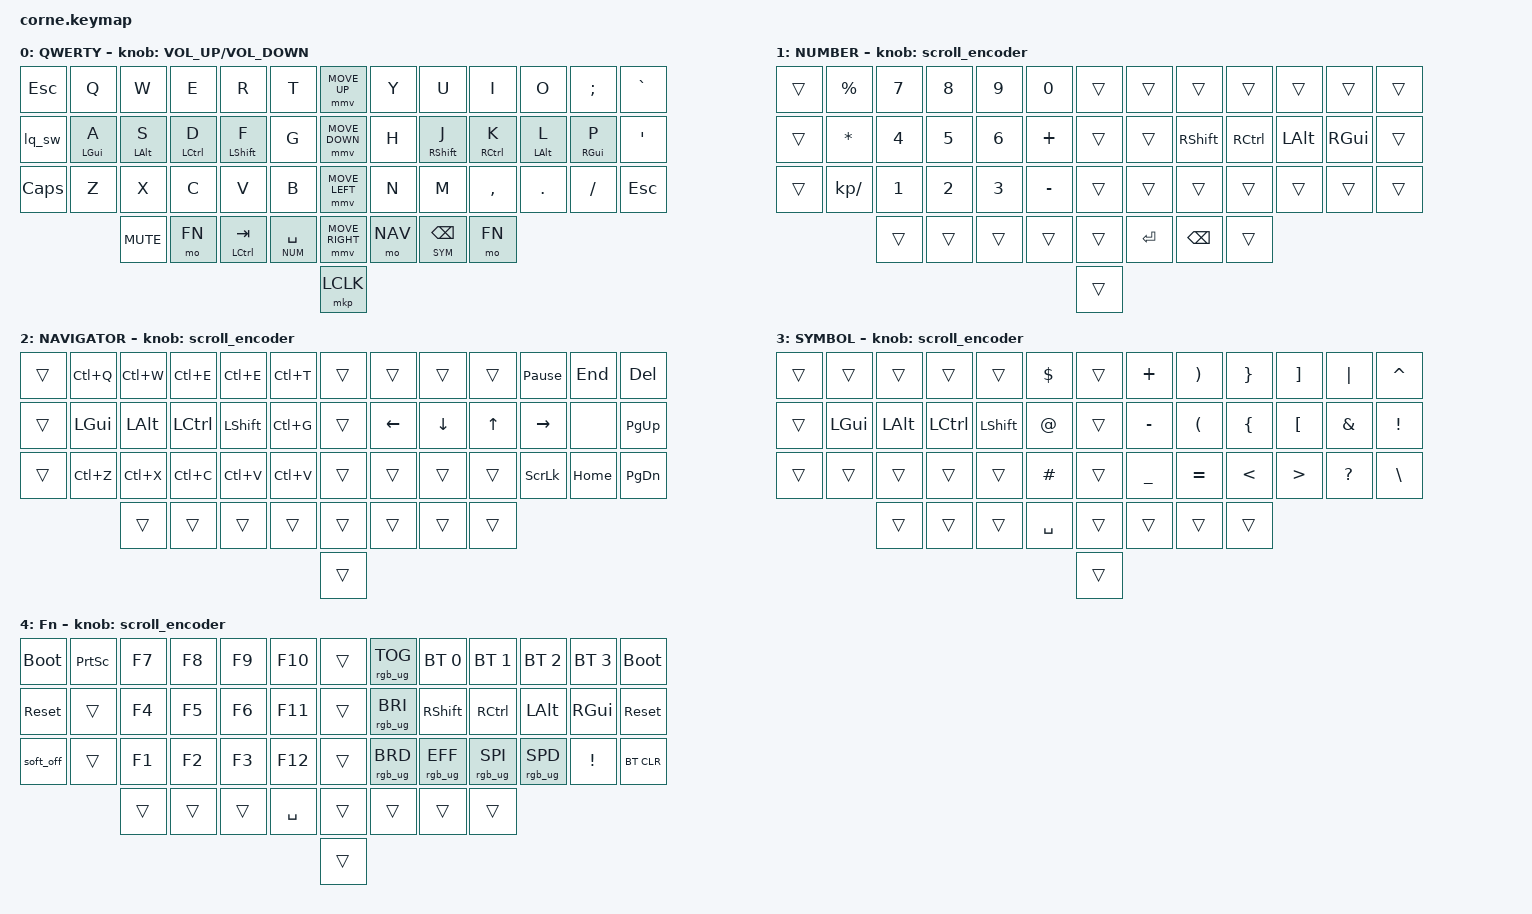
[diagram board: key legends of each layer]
#include <behaviors/mouse_keys.dtsi>
#include <behaviors.dtsi>
#include <dt-bindings/zmk/bt.h>
#include <dt-bindings/zmk/keys.h>
#include <dt-bindings/zmk/mouse.h>
#include <dt-bindings/zmk/rgb.h>
#include <dt-bindings/zmk/ext_power.h>

#define ZMK_MOUSE_DEFAULT_MOVE_VAL 1200  // 600
#define ZMK_MOUSE_DEFAULT_SCRL_VAL 20    // 10
#define U_MS_U &mmv MOVE_UP
#define U_MS_D &mmv MOVE_DOWN
#define U_MS_L &mmv MOVE_LEFT
#define U_MS_R &mmv MOVE_RIGHT

#define DEF     0
#define NUM     1
#define NAV     2
#define SYM     3
#define FN      4

#define XXX &none
#define ___ &trans

&mt {
    quick-tap-ms = <200>;
};

/ {
    behaviors {
        mmv {
            acceleration-exponent = <1>;      // 1
            time-to-max-speed-ms = <900>;    // 40
            delay-ms = <0>;                   // 0
        };

        msc {
            acceleration-exponent = <1>;      // 0
            time-to-max-speed-ms = <400>;      // 500
            delay-ms = <0>;                   // 10
        };

        hmsf: homerow_mods_strong_fingers {
            compatible = "zmk,behavior-hold-tap";
            #binding-cells = <2>;
            tapping-term-ms = <200>;
            quick-tap-ms = <200>;
            flavor = "tap-preferred";
            bindings = <&kp>, <&kp>;
        };

	hmwf: homerow_mods_weak_fingers {
            compatible = "zmk,behavior-hold-tap";
            #binding-cells = <2>;
            tapping-term-ms = <300>;
            quick-tap-ms = <200>;
            flavor = "tap-preferred";
            bindings = <&kp>, <&kp>;
	    retro-tap;
        };

	spc: space {
	    compatible = "zmk,behavior-hold-tap";
            #binding-cells = <2>;
            tapping-term-ms = <200>;
            flavor = "balanced";
            bindings = <&mo>, <&kp>;
	    retro-tap;
 	};

	bsp: backspace {
            compatible = "zmk,behavior-hold-tap";
            #binding-cells = <2>;
            tapping-term-ms = <200>;
            quick-tap-ms = <300>;
            flavor = "hold-preferred";
            bindings = <&mo>, <&kp>;
        };
    };

    macros {
        lq_sw: language_switch {
            compatible = "zmk,behavior-macro";
            #binding-cells = <0>;
            bindings
                = <&macro_press &kp LGUI>
		, <&macro_press &kp LALT>
		, <&macro_press &kp LCTRL>
                , <&macro_tap &kp SPACE>
                , <&macro_release &kp LGUI>
		, <&macro_release &kp LALT>
		, <&macro_release &kp LCTRL>
                ;
        };

	hp_gt: hyphen_greater {
            compatible = "zmk,behavior-macro";
            #binding-cells = <0>;
            bindings
                = <&macro_tap &kp MINUS>
                , <&macro_tap &kp GT>
                ;
        };

	eq_gt: equal_greater {
            compatible = "zmk,behavior-macro";
            #binding-cells = <0>;
            bindings
                = <&macro_tap &kp EQUAL>
                , <&macro_tap &kp GT>
                ;
        };

	cl_qm: colon_qmark {
            compatible = "zmk,behavior-macro";
            #binding-cells = <0>;
            bindings
                = <&macro_tap &kp COLON>
                , <&macro_tap &kp QMARK>
                ;
        };

	sml: smile {
            compatible = "zmk,behavior-macro";
            #binding-cells = <0>;
            bindings
                = <&macro_tap &kp EQUAL>
                , <&macro_tap &kp RPAR>
		, <&macro_tap &kp RPAR>
                ;
        };
    };

   combos {
        compatible = "zmk,combos";
        combo_hyphen_greater {
            timeout-ms = <70>;
            key-positions = <20 35>;
            bindings = <&hp_gt>;
        };

	combo_equal_greater {
            timeout-ms = <70>;
            key-positions = <18 36>;
            bindings = <&eq_gt>;
        };

	combo_colon_qmark {
            timeout-ms = <80>;
            key-positions = <18 37>;
            bindings = <&cl_qm>;
        };

	combo_smile {
            timeout-ms = <60>;
            key-positions = <8 18>;
            bindings = <&sml>;
        };
    };

    rgb_encoder: rgb_encoder {
        compatible = "zmk,behavior-sensor-rotate";
        label = "RGB_ENCODER";
        #sensor-binding-cells = <0>;
        bindings = <&rgb_ug RGB_BRI>, <&rgb_ug RGB_BRD>;
    };

    scroll_encoder: scroll_encoder {
        compatible = "zmk,behavior-sensor-rotate";
        #sensor-binding-cells = <0>;
        bindings = <&msc SCRL_DOWN>, <&msc SCRL_UP>;
        tap-ms = <30>;
    };

    keymap {
        compatible = "zmk,keymap";

        default {
            display-name = "QWERTY";

	    bindings = <
//╭─────────────┬─────────────┬─────────────┬─────────────┬─────────────┬─────────────╮    ╭─────────────────╮    ╭─────────────┬─────────────┬─────────────┬─────────────┬─────────────┬─────────────╮
    &kp ESC       &kp Q         &kp W         &kp E         &kp R         &kp T              &mmv MOVE_UP           &kp Y         &kp U         &kp I         &kp O         &kp SEMI      &kp GRAVE
//├─────────────┼─────────────┼─────────────┼─────────────┼─────────────┼─────────────┤    ├─────────────────┤    ├─────────────┼─────────────┼─────────────┼─────────────┼─────────────┼─────────────┤
    &lq_sw        &hmwf LGUI A  &hmwf LALT S  &hmsf LCTRL D &hmsf LSHFT F &kp G              &mmv MOVE_DOWN         &kp H         &hmsf RSHFT J &hmsf RCTRL K &hmwf LALT L  &hmwf RGUI P  &kp SQT
//├─────────────┼─────────────┼─────────────┼─────────────┼─────────────┼─────────────┤    ├─────────────────┤    ├─────────────┼─────────────┼─────────────┼─────────────┼─────────────┼─────────────┤
    &kp CAPS      &kp Z         &kp X         &kp C         &kp V         &kp B              &mmv MOVE_LEFT         &kp N         &kp M         &kp COMMA     &kp DOT       &kp FSLH      &kp ESC
//╰─────────────┼─────────────┼─────────────┼─────────────┼─────────────┼─────────────┤    ├─────────────────┤    ├─────────────┼─────────────┼─────────────┼─────────────┼─────────────┼─────────────╯
                                &kp C_MUTE    &mo FN        &mt LCTRL TAB &spc NUM SPACE     &mmv MOVE_RIGHT        &mo NAV       &bsp SYM BSPC &mo FN                            
//                            ╰─────────────┴─────────────┴─────────────┴─────────────╯    ├─────────────────┤    ╰─────────────┴─────────────┴─────────────╯                            
                                                                                             &mkp LCLK
//                                                                                         ╰─────────────────╯
            >;     

            label = "QWERTY";
            sensor-bindings = <&inc_dec_kp C_VOLUME_UP C_VOLUME_DOWN>;
        };

        num {
            display-name = "NUMBER";

	    bindings = <
//╭─────────────┬─────────────┬─────────────┬─────────────┬─────────────┬─────────────╮    ╭─────────────────╮    ╭─────────────┬─────────────┬─────────────┬─────────────┬─────────────┬─────────────╮
    ___           &kp PRCNT     &kp NUMBER_7  &kp NUMBER_8  &kp NUMBER_9  &kp NUMBER_0        ___                   ___           ___           ___           ___           ___           ___ 
//├─────────────┼─────────────┼─────────────┼─────────────┼─────────────┼─────────────┤    ├─────────────────┤    ├─────────────┼─────────────┼─────────────┼─────────────┼─────────────┼─────────────┤
    ___           &kp ASTRK     &kp NUMBER_4  &kp NUMBER_5  &kp NUMBER_6  &kp PLUS            ___                   ___           &kp RSHIFT    &kp RCTRL     &kp LALT      &kp RGUI      ___ 
//├─────────────┼─────────────┼─────────────┼─────────────┼─────────────┼─────────────┤    ├─────────────────┤    ├─────────────┼─────────────┼─────────────┼─────────────┼─────────────┼─────────────┤
    ___           &kp KP_SLASH  &kp NUMBER_1  &kp NUMBER_2  &kp NUMBER_3  &kp MINUS           ___                   ___           ___           ___           ___           ___           ___ 
//╰─────────────┼─────────────┼─────────────┼─────────────┼─────────────┼─────────────┤    ├─────────────────┤    ├─────────────┼─────────────┼─────────────┼─────────────┼─────────────┼─────────────╯
                                ___           ___           ___           ___                 ___                   &kp RET       &kp BSPC      ___                             
//                            ╰─────────────┴─────────────┴─────────────┴─────────────╯    ├─────────────────┤    ╰─────────────┴─────────────┴─────────────╯                            
                                                                                              ___
//                                                                                         ╰─────────────────╯
            >;     

            label = "NUMBER";
            sensor-bindings = <&scroll_encoder>;
        };

        nav {
            display-name = "NAVIGATOR";

	    bindings = <
//╭─────────────┬─────────────┬─────────────┬─────────────┬─────────────┬─────────────╮    ╭─────────────────╮    ╭─────────────┬─────────────┬─────────────┬────────────────┬─────────────┬─────────────╮
    ___           &kp LC(Q)     &kp LC(W)     &kp LC(E)     &kp LC(E)     &kp LC(T)           ___                   ___           ___           ___           &kp PAUSE_BREAK  &kp END       &kp DEL
//├─────────────┼─────────────┼─────────────┼─────────────┼─────────────┼─────────────┤    ├─────────────────┤    ├─────────────┼─────────────┼─────────────┼────────────────┼─────────────┼─────────────┤
    ___           &kp LGUI      &kp LALT      &kp LCTRL     &kp LSHIFT    &kp LC(G)           ___                   &kp LEFT      &kp DOWN      &kp UP        &kp RIGHT        &none         &kp PG_UP  
//├─────────────┼─────────────┼─────────────┼─────────────┼─────────────┼─────────────┤    ├─────────────────┤    ├─────────────┼─────────────┼─────────────┼────────────────┼─────────────┼─────────────┤
    ___           &kp LC(Z)     &kp LC(X)     &kp LC(C)     &kp LC(V)     &kp LC(V)           ___                   ___           ___           ___           &kp SLCK         &kp HOME      &kp PG_DN
//╰─────────────┼─────────────┼─────────────┼─────────────┼─────────────┼─────────────┤    ├─────────────────┤    ├─────────────┼─────────────┼─────────────┼────────────────┼─────────────┼─────────────╯
                                ___           ___           ___           ___                 ___                   ___           ___           ___                     
//                            ╰─────────────┴─────────────┴─────────────┴─────────────╯    ├─────────────────┤    ╰─────────────┴─────────────┴─────────────╯                            
                                                                                              ___
//                                                                                         ╰─────────────────╯
            >;     
     
            label = "NAVIGATOR";
            sensor-bindings = <&scroll_encoder>;
        };

        sym {
            display-name = "SYMBOL";

	    bindings = <
//╭─────────────┬─────────────┬─────────────┬─────────────┬─────────────┬─────────────╮    ╭─────────────────╮    ╭─────────────┬─────────────┬─────────────┬─────────────┬─────────────┬─────────────╮
    ___           ___           ___           ___           ___           &kp DLLR            ___                   &kp PLUS      &kp RPAR      &kp RBRC      &kp RBKT      &kp PIPE      &kp CARET
//├─────────────┼─────────────┼─────────────┼─────────────┼─────────────┼─────────────┤    ├─────────────────┤    ├─────────────┼─────────────┼─────────────┼─────────────┼─────────────┼─────────────┤
    ___           &kp LGUI      &kp LALT      &kp LCTRL     &kp LSHIFT    &kp AT              ___                   &kp MINUS     &kp LPAR      &kp LBRC      &kp LBKT      &kp AMPS      &kp EXCL  
//├─────────────┼─────────────┼─────────────┼─────────────┼─────────────┼─────────────┤    ├─────────────────┤    ├─────────────┼─────────────┼─────────────┼─────────────┼─────────────┼─────────────┤
    ___           ___           ___           ___           ___           &kp HASH            ___                   &kp UNDER     &kp EQUAL     &kp LT        &kp GT        &kp QMARK     &kp BSLH
//╰─────────────┼─────────────┼─────────────┼─────────────┼─────────────┼─────────────┤    ├─────────────────┤    ├─────────────┼─────────────┼─────────────┼─────────────┼─────────────┼─────────────╯
                                ___           ___           ___           &kp SPACE           ___                   ___           ___           ___                     
//                            ╰─────────────┴─────────────┴─────────────┴─────────────╯    ├─────────────────┤    ╰─────────────┴─────────────┴─────────────╯                            
                                                                                              ___
//                                                                                         ╰─────────────────╯
            >; 

            label = "SYMBOL";
            sensor-bindings = <&scroll_encoder>;
        };

        fn {
            display-name = "Fn";

	    bindings = <
//╭───────────────────┬─────────────┬─────────────┬─────────────┬─────────────┬─────────────╮    ╭─────────────────╮    ╭────────────────┬────────────────┬────────────────┬────────────────┬─────────────┬────────────────╮
    &bootloader         &kp PSCRN     &kp F7        &kp F8        &kp F9        &kp F10             ___                   &rgb_ug RGB_TOG  &bt BT_SEL 0     &bt BT_SEL 1     &bt BT_SEL 2     &bt BT_SEL 3  &bootloader
//├───────────────────┼─────────────┼─────────────┼─────────────┼─────────────┼─────────────┤    ├─────────────────┤    ├────────────────┼────────────────┼────────────────┼────────────────┼─────────────┼────────────────┤
    &sys_reset          ___           &kp F4        &kp F5        &kp F6        &kp F11             ___                   &rgb_ug RGB_BRI  &kp RSHIFT       &kp RCTRL        &kp LALT         &kp RGUI      &sys_reset
//├───────────────────┼─────────────┼─────────────┼─────────────┼─────────────┼─────────────┤    ├─────────────────┤    ├────────────────┼────────────────┼────────────────┼────────────────┼─────────────┼────────────────┤
    &soft_off           ___           &kp F1        &kp F2        &kp F3        &kp F12             ___                   &rgb_ug RGB_BRD  &rgb_ug RGB_EFF  &rgb_ug RGB_SPI  &rgb_ug RGB_SPD  &kp EXCL      &bt BT_CLR
//╰───────────────────┼─────────────┼─────────────┼─────────────┼─────────────┼─────────────┤    ├─────────────────┤    ├────────────────┼────────────────┼────────────────┼────────────────┼─────────────┼────────────────╯
                                      ___           ___           ___           &kp SPACE           ___                   ___              ___              ___                     
//                                  ╰─────────────┴─────────────┴─────────────┴─────────────╯    ├─────────────────┤    ╰────────────────┴────────────────┴────────────────╯                            
                                                                                                    ___
//                                                                                               ╰─────────────────╯
            >; 

            label = "FN";
            sensor-bindings = <&scroll_encoder>;
        };
    };
};
